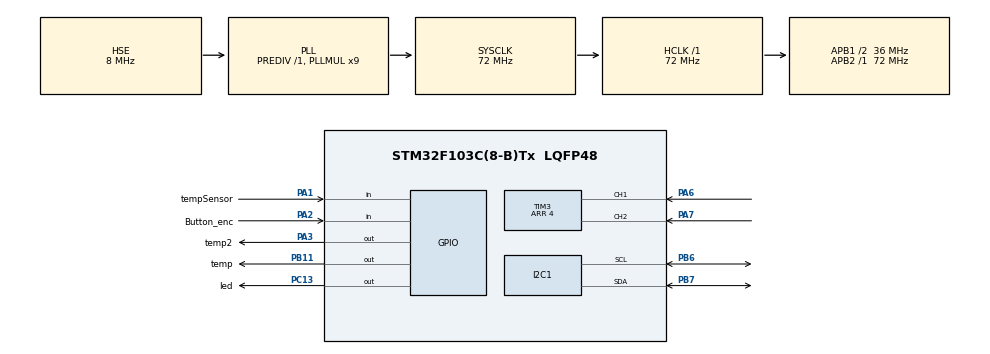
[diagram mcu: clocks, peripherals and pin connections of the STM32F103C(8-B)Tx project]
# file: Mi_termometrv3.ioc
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Mcu.Family=STM32F1
Mcu.Name=STM32F103C(8-B)Tx
Mcu.Package=LQFP48
NVIC.PriorityGroup=NVIC_PRIORITYGROUP_4
PA1.GPIO_Label=tempSensor
PA1.Signal=GPIO_Input
PA13.Mode=Serial_Wire
PA13.Signal=SYS_JTMS-SWDIO
PA14.Mode=Serial_Wire
PA14.Signal=SYS_JTCK-SWCLK
PA2.GPIO_Label=Button_enc
PA2.GPIO_PuPd=GPIO_PULLUP
PA2.Signal=GPIO_Input
PA3.GPIO_Label=temp2
PA3.Signal=GPIO_Output
PA6.GPIO_PuPd=GPIO_PULLUP
PA6.Signal=S_TIM3_CH1
PA7.GPIO_PuPd=GPIO_PULLUP
PA7.Signal=S_TIM3_CH2
PB11.GPIO_Label=temp
PB11.Signal=GPIO_Output
PB6.Mode=I2C
PB6.Signal=I2C1_SCL
PB7.Mode=I2C
PB7.Signal=I2C1_SDA
PC13-TAMPER-RTC.GPIO_Label=led
PC13-TAMPER-RTC.GPIO_Speed=GPIO_SPEED_FREQ_MEDIUM
PC13-TAMPER-RTC.PinState=GPIO_PIN_SET
PC13-TAMPER-RTC.Signal=GPIO_Output
PD0-OSC_IN.Mode=HSE-External-Oscillator
PD0-OSC_IN.Signal=RCC_OSC_IN
PD1-OSC_OUT.Mode=HSE-External-Oscillator
PD1-OSC_OUT.Signal=RCC_OSC_OUT
ProjectManager.HeapSize=0x200
ProjectManager.StackSize=0x400
ProjectManager.TargetToolchain=SW4STM32
RCC.AHBFreq_Value=72000000
RCC.APB1CLKDivider=RCC_HCLK_DIV2
RCC.APB1Freq_Value=36000000
RCC.APB1TimFreq_Value=72000000
RCC.APB2Freq_Value=72000000
RCC.APB2TimFreq_Value=72000000
RCC.HCLKFreq_Value=72000000
RCC.PLLMUL=RCC_PLL_MUL9
RCC.PLLSourceVirtual=RCC_PLLSOURCE_HSE
RCC.SYSCLKFreq_VALUE=72000000
RCC.SYSCLKSource=RCC_SYSCLKSOURCE_PLLCLK
RCC.USBFreq_Value=72000000
SH.S_TIM3_CH1.0=TIM3_CH1,Encoder_Interface
SH.S_TIM3_CH2.0=TIM3_CH2,Encoder_Interface
TIM3.EncoderMode=TIM_ENCODERMODE_TI12
TIM3.Period=4
VP_CRC_VS_CRC.Mode=CRC_Activate
board=custom

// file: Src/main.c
/* USER CODE BEGIN Header */

/**
  ******************************************************************************
  * @file           : main.c
  * @brief          : Main program body
  ******************************************************************************
  ** This notice applies to any and all portions of this file
  * that are not between comment pairs USER CODE BEGIN and
  * USER CODE END. Other portions of this file, whether
  * inserted by the user or by software development tools
  * are owned by their respective copyright owners.
  *
  * COPYRIGHT(c) 2019 STMicroelectronics
  *
  * Redistribution and use in source and binary forms, with or without modification,
  * are permitted provided that the following conditions are met:
  *   1. Redistributions of source code must retain the above copyright notice,
  *      this list of conditions and the following disclaimer.
  *   2. Redistributions in binary form must reproduce the above copyright notice,
  *      this list of conditions and the following disclaimer in the documentation
  *      and/or other materials provided with the distribution.
  *   3. Neither the name of STMicroelectronics nor the names of its contributors
  *      may be used to endorse or promote products derived from this software
  *      without specific prior written permission.
  *
  * THIS SOFTWARE IS PROVIDED BY THE COPYRIGHT HOLDERS AND CONTRIBUTORS "AS IS"
  * AND ANY EXPRESS OR IMPLIED WARRANTIES, INCLUDING, BUT NOT LIMITED TO, THE
  * IMPLIED WARRANTIES OF MERCHANTABILITY AND FITNESS FOR A PARTICULAR PURPOSE ARE
  * DISCLAIMED. IN NO EVENT SHALL THE COPYRIGHT HOLDER OR CONTRIBUTORS BE LIABLE
  * FOR ANY DIRECT, INDIRECT, INCIDENTAL, SPECIAL, EXEMPLARY, OR CONSEQUENTIAL
  * DAMAGES (INCLUDING, BUT NOT LIMITED TO, PROCUREMENT OF SUBSTITUTE GOODS OR
  * SERVICES; LOSS OF USE, DATA, OR PROFITS; OR BUSINESS INTERRUPTION) HOWEVER
  * CAUSED AND ON ANY THEORY OF LIABILITY, WHETHER IN CONTRACT, STRICT LIABILITY,
  * OR TORT (INCLUDING NEGLIGENCE OR OTHERWISE) ARISING IN ANY WAY OUT OF THE USE
  * OF THIS SOFTWARE, EVEN IF ADVISED OF THE POSSIBILITY OF SUCH DAMAGE.
  *
  ******************************************************************************
  */
/* USER CODE END Header */

#include "main.h"

/* USER CODE BEGIN Includes */

//Использовался Энкодер 80 тиков на оборот
#include "ssd1306.h"
#include "fonts.h"
#include "stdio.h"
#include "stdlib.h"
#include "math.h"
#include "string.h"
#include "dwt_stm32_delay.h"
#include "FlashPROM.h"
#include "ds18b20.h"
//#include <stdio>
//#include "iostream.h"
/* USER CODE END Includes */

/* USER CODE BEGIN PTD */
//using namespace std;
/* USER CODE END PTD */

CRC_HandleTypeDef hcrc;

I2C_HandleTypeDef hi2c1;

TIM_HandleTypeDef htim3;

/* USER CODE BEGIN PV */
//переменные для работы с датчиком температуры и влажности
uint8_t Rh_byte1, Rh_byte2, Temp_byte1, Temp_byte2;
uint16_t sum, RH, TEMP;
int temp_low, temp_high, rh_low, rh_high;
char temp_char1[2], temp_char2, rh_char1[2], rh_char2;
uint8_t check = 0;
uint32_t res_addr = 0;  //адрес для записи во флэш
uint32_t timme=0;  //счетчик времни для записи в память
uint16_t count=0;    //счетчик для сохранения в память
char str1[60];  //ds18b20

//фукции переназначения входа и выхода пин а1 для работы с датчиком
GPIO_InitTypeDef GPIO_InitStruct;
void set_gpio_output (void)
{
	/*Configure GPIO pin output: PA1 */
  GPIO_InitStruct.Pin = GPIO_PIN_1;
  GPIO_InitStruct.Mode = GPIO_MODE_OUTPUT_PP;
  GPIO_InitStruct.Speed = GPIO_SPEED_FREQ_LOW;
  HAL_GPIO_Init(GPIOA, &GPIO_InitStruct);
}

void set_gpio_input (void)
{
	/*Configure GPIO pin input: PA1 */
  GPIO_InitStruct.Pin = GPIO_PIN_1;
  GPIO_InitStruct.Mode = GPIO_MODE_INPUT;
  GPIO_InitStruct.Pull = GPIO_NOPULL;
  HAL_GPIO_Init(GPIOA, &GPIO_InitStruct);
}
/* USER CODE END PV */

void SystemClock_Config(void);
static void MX_GPIO_Init(void);
static void MX_I2C1_Init(void);
static void MX_TIM3_Init(void);
static void MX_CRC_Init(void);
/* USER CODE BEGIN PFP */
//////////////////////////////////////////////////////////////////////
//фунуции работы с датчиком ьемпературы
void DHT22_start (void)
{
	set_gpio_output ();  // set the pin as output
	HAL_GPIO_WritePin (GPIOA, GPIO_PIN_1, 0);   // pull the pin low
	DWT_Delay_us (500);   // wait for 500us
	HAL_GPIO_WritePin (GPIOA, GPIO_PIN_1, 1);   // pull the pin high
	DWT_Delay_us (30);   // wait for 30us
	set_gpio_input ();   // set as input
}

void check_response (void)
{
	DWT_Delay_us (40);
	if (!(HAL_GPIO_ReadPin (GPIOA, GPIO_PIN_1)))
	{
		DWT_Delay_us (80);
		if ((HAL_GPIO_ReadPin (GPIOA, GPIO_PIN_1))) check = 1;
	}
	while ((HAL_GPIO_ReadPin (GPIOA, GPIO_PIN_1)));   // wait for the pin to go low
}

uint8_t read_data (void)
{
	uint8_t i,j;
	for (j=0;j<8;j++)
	{
		while (!(HAL_GPIO_ReadPin (GPIOA, GPIO_PIN_1)));   // wait for the pin to go high
		DWT_Delay_us (40);   // wait for 40 us
		if ((HAL_GPIO_ReadPin (GPIOA, GPIO_PIN_1)) == 0)   // if the pin is low
		{
			i&= ~(1<<(7-j));   // write 0
		}
		else i|= (1<<(7-j));  // if the pin is high, write 1
		while ((HAL_GPIO_ReadPin (GPIOA, GPIO_PIN_1)));  // wait for the pin to go low
	}
	return i;
}
////////////////////////////////////////////
 struct Menucomplect
{
	char* Line1;      ///первые четыре строчки для обновления дисплея буфер
	char* Line2;
	char* Line3;
	char* Line4;
	char* Line5;       //вторые четыре строчки  курсорные указатели главного меню
	char* Line6;
	char* Line7;
	char* Line8;
	char* Line9;       //третьи безкурсорные указатели строчки главного меню
	char* Line10;
	char* Line11;
	char* Line12;
}Main_menu;

/* USER CODE END PFP */

/* USER CODE BEGIN 0 */
///функция для первого заполнеия меню
void start_menu(struct Menucomplect *mst)
{
	mst->Line1=">  TIME    ";
	mst->Line2="   Vlagnost";
	mst->Line3="   Temperat";
	mst->Line4="   Nagruzka";
	////

}
void Menu_it_Update()
{
//	ssd1306_Fill(Black);
	ssd1306_SetCursor(0,0);

	ssd1306_WriteString("   TIME     ",Font_11x18,White);
	ssd1306_UpdateScreen();
	ssd1306_SetCursor(0,15);
	ssd1306_WriteString("   Vlagnost",Font_11x18,White);
	ssd1306_UpdateScreen();
	ssd1306_SetCursor(0,30);
	ssd1306_WriteString("   Temperat",Font_11x18,White);
	ssd1306_UpdateScreen();
	ssd1306_SetCursor(0,45);
	ssd1306_WriteString("   Nagruzka",Font_11x18,White);
	ssd1306_UpdateScreen();
}
void Menu_it_Updatestruc(struct Menucomplect *menu )
{
//	ssd1306_Fill(Black);
	ssd1306_SetCursor(0,0);

	ssd1306_WriteString(menu->Line1,Font_11x18,White);
	ssd1306_UpdateScreen();
	ssd1306_SetCursor(0,15);
	ssd1306_WriteString(menu->Line2,Font_11x18,White);
	ssd1306_UpdateScreen();
	ssd1306_SetCursor(0,30);
	ssd1306_WriteString(menu->Line3,Font_11x18,White);
	ssd1306_UpdateScreen();
	ssd1306_SetCursor(0,45);
	ssd1306_WriteString(menu->Line4,Font_11x18,White);
	ssd1306_UpdateScreen();

}
void LCD_update(char* chislo)
{
	   ssd1306_Fill(Black);
	    //ssd1306_UpdateScreen();
	    //HAL_Delay(50);
	    ssd1306_SetCursor(0,0);
	    ssd1306_WriteString(chislo,Font_11x18,White);
	    ssd1306_UpdateScreen();
}

//функция сборки меню по результатам перемещений курсора
int set_Menu(uint8_t up,uint8_t pozicia ,struct Menucomplect *lastmenu )
{
	 uint8_t new_poz;
	 char *tuda;
	 if(up==1){
		switch (pozicia)
		{
		case 1:
		        {
		        lastmenu->Line1=lastmenu->Line9;  //пишем безкурсорную
			    lastmenu->Line4=lastmenu->Line8;   // сюда ставим курсор
			    new_poz=4;
			    break;
		        }
		case 2:
				{
				lastmenu->Line2=lastmenu->Line10;  //пишем безкурсорную
				lastmenu->Line1=lastmenu->Line5;   // сюда ставим курсор
				new_poz=1;
				break;
				}
		case 3:
				{
			    lastmenu->Line3=lastmenu->Line11;  //пишем безкурсорную
				lastmenu->Line2=lastmenu->Line6;   // сюда ставим курсор
				new_poz=2;
				break;
				}
		case 4:
				{
				lastmenu->Line4=lastmenu->Line12;  //пишем безкурсорную
			    lastmenu->Line3=lastmenu->Line7;   // сюда ставим курсор
			    new_poz=3;
			    break;
				}
		default:
			break;
		}

	 }else{//иначе идем вниз
	switch(pozicia){
       case 1:
		        {
		        lastmenu->Line1=lastmenu->Line9;  //пишем безкурсорную
			    lastmenu->Line2=lastmenu->Line6;   // сюда ставим курсор
			    new_poz=2;
			    break;
		        }
		case 2:
				{
				lastmenu->Line2=lastmenu->Line10;  //пишем безкурсорную
				lastmenu->Line3=lastmenu->Line7;   // сюда ставим курсор
				new_poz=3;
				break;
				}
		case 3:
				{
			    lastmenu->Line3=lastmenu->Line11;  //пишем безкурсорную
				lastmenu->Line4=lastmenu->Line8;   // сюда ставим курсор
				new_poz=4;
				break;
				}
		case 4:
				{
				lastmenu->Line4=lastmenu->Line12;  //пишем безкурсорную
			    lastmenu->Line1=lastmenu->Line5;   // сюда ставим курсор
			    new_poz=1;
			    break;
				}
		default:
			break;
		}

	 }

	 Menu_it_Updatestruc(lastmenu);
	 return new_poz;
}
//конец функции сборки меню по рез крусора
//////////////////////////////////////////////////////////////////////////////////

//функ
//функция заполнения струтуры
/*
void beginstructMenu(struct Menucomplect *beginmenu, char *mm,int n)
{

	    beginmenu->Line5=mm[0];
	    beginmenu->Line6=mm[1];
	    beginmenu->Line7=mm[2];
	    beginmenu->Line8=mm[3];
}                                              */
/* USER CODE END 0 */

int main(void)
{
  /* USER CODE BEGIN 1 */
	//char *Name[100] = {"Ruslan","Artur","Timur","Ivan","Sveta","Kola"};

	char *strMainmenu[4]={"   TIME     ","   Vlagnost","   Temperat","   Nagruzka"};
    char *strcursMainmenu[4]={">  TIME     ",">  Vlagnost",">  Temperat",">  Nagruzka"};
    char buf[25];
	int32_t capture=0, capture_prev=0, encoder=0,encoder_old=0;
	char encoder_ch[10],TEMPch[10],RHch[10];
	char *p,*p2,*p3,*tekmenu,*m1,*m2c;
    uint8_t cursor_up=2,pozicia_cursora=1;  // направление движения курсора 1-вверх 0-вниз 2-никуда
	   //позиция крусора те в какой строке сейчас находится
    uint16_t k_butt=0;
   uint8_t MSByte=0; //старший байт
   uint8_t LSByte=0;  //младший байт
   uint16_t MSBLSB=0; // склееныный
   uint8_t falgset=0;  //флаг что надо сохранить в память
   char str[64] = {0,};
   uint8_t status;             //ds18b20
   uint8_t dt[8];          //ds18b20
   uint16_t raw_temper;    //ds18b20
   float temper;          //ds18b20
   char c;
   uint8_t temrez;

  /* USER CODE END 1 */

  /* MCU Configuration--------------------------------------------------------*/

  /* Reset of all peripherals, Initializes the Flash interface and the Systick. */
  HAL_Init();

  /* Configure the system clock */
  SystemClock_Config();

  /* Initialize all configured peripherals */
  MX_GPIO_Init();
  MX_I2C1_Init();
  MX_TIM3_Init();
  MX_CRC_Init();
  /* USER CODE BEGIN 2 */
  ssd1306_Init();     //инициализация дисплея
  DWT_Delay_Init ();
  HAL_Delay(1000);
   /*
    ssd1306_Fill(White);
    ssd1306_UpdateScreen();
    HAL_Delay(1000);
    ssd1306_SetCursor(23,23);
    ssd1306_WriteString("Ziiiic",Font_11x18,Black);
    ssd1306_UpdateScreen();
    HAL_Delay(1000);
    ssd1306_Fill(Black);
    ssd1306_UpdateScreen();
    HAL_Delay(1000);
    ssd1306_SetCursor(0,0);
    ssd1306_WriteString("12345678901",Font_11x18,White);
    ssd1306_UpdateScreen();
    ssd1306_SetCursor(0,15);
    ssd1306_WriteString("22222222222",Font_11x18,White);
    ssd1306_UpdateScreen();
    ssd1306_SetCursor(0,30);
    ssd1306_WriteString("33333333333",Font_11x18,White);
    ssd1306_UpdateScreen();
    ssd1306_SetCursor(0,45);
    ssd1306_WriteString("44444444444",Font_11x18,White);
    ssd1306_UpdateScreen();   */

    ///Encoder///
    HAL_TIM_Encoder_Start(&htim3, TIM_CHANNEL_ALL);
////// Первичное создание главного меню

//инитим структуру меню
    Main_menu.Line5=strcursMainmenu[0];
    Main_menu.Line6=strcursMainmenu[1];
    Main_menu.Line7=strcursMainmenu[2];
    Main_menu.Line8=strcursMainmenu[3];

    Main_menu.Line9=strMainmenu[0];
    Main_menu.Line10=strMainmenu[1];
    Main_menu.Line11=strMainmenu[2];
    Main_menu.Line12=strMainmenu[3];
    //создаем указатель на структуру меню

    tekmenu=&Main_menu;
    start_menu(tekmenu);         //первично заполняем строки
    Menu_it_Updatestruc(tekmenu);  //выводим на дисплей
   HAL_Delay(500);
     m1=&strMainmenu;
    m2c=&strcursMainmenu;

   //erase_flash();
    res_addr = flash_search_adress(STARTADDR, BUFFSIZE * DATAWIDTH);   //
    myBuf_t wdata[BUFFSIZE] = {0x1111, 0x2222, 0x3333, 0x4444, 0x0000};
   // myBuf_t wdata[BUFFSIZE] ;
   // beginstructMenu(tekmenu,strcursMainmenu,4);
    				//смотрим данные при запсуке
    				ssd1306_Fill(Black);
    	 	    	ssd1306_SetCursor(0,0);
    	 	    	snprintf(str, 64, ": MSB_%d \n",MSByte );
    	 	    	ssd1306_WriteString(str,Font_11x18,White);
    	 	    	snprintf(str, 64, ": LSB_%d \n",LSByte );
    	 	    	ssd1306_SetCursor(0,15);
    	 	    	ssd1306_WriteString(str,Font_11x18,White);
    	 	    	snprintf(str, 64, ": MSBLSB%d \n", MSBLSB);
    	 	    	ssd1306_SetCursor(0,30);
    	 	    	ssd1306_WriteString(str,Font_11x18,White);
    	 	    	snprintf(str, 64, ": x% \n",'move' );
    	 	    	ssd1306_SetCursor(0,45);
    	 	    	ssd1306_WriteString(str,Font_11x18,White);
    	 	    	ssd1306_UpdateScreen();
    	 	    	HAL_Delay(500);
    //восстанавливаем занчения из памяти
    	 	    	myBuf_t rdata[BUFFSIZE] = {0,}; // буфер для чтения (не обязательно его создавать, можно использовать буфер для записи)
                    read_last_data_in_flash(rdata); // чтение данных из флеша
                    MSByte=(uint8_t)(rdata[0] >> 8);  //старший байт
                    LSByte=(uint8_t)rdata[0];           //младший байт
                    //смотрим данные при чтении из памяти
                        				ssd1306_Fill(Black);
                        	 	    	ssd1306_SetCursor(0,0);
                        	 	    	snprintf(str, 64, ": MSB_%d \n",MSByte );
                        	 	    	ssd1306_WriteString(str,Font_11x18,White);
                        	 	    	snprintf(str, 64, ": LSB_%d \n",LSByte );
                        	 	    	ssd1306_SetCursor(0,15);
                        	 	    	ssd1306_WriteString(str,Font_11x18,White);
                        	 	    	snprintf(str, 64, ": MSBLSB%d \n", MSBLSB);
                        	 	    	ssd1306_SetCursor(0,30);
                        	 	    	ssd1306_WriteString(str,Font_11x18,White);
                        	 	    	snprintf(str, 64, ": x% \n",'move' );
                        	 	    	ssd1306_SetCursor(0,45);
                        	 	    	ssd1306_WriteString(str,Font_11x18,White);
                        	 	    	ssd1306_UpdateScreen();
                        	 	    	HAL_Delay(500);
 /*  ssd1306_Fill(Black);
       ssd1306_UpdateScreen();
   ssd1306_SetCursor(0,0);
   	ssd1306_WriteString(strMainmenu[3],Font_11x18,White);
   	ssd1306_UpdateScreen();           */
port_init2();  //ds18b20 lib
status=ds18b20_init2(SKIP_ROM);
snprintf(str1,60,"_%d",status);
ssd1306_Fill(Black);
ssd1306_SetCursor(0,0);
ssd1306_WriteString(str1,Font_11x18,White);
ssd1306_SetCursor(0,15);
ssd1306_WriteString("Proshel",Font_11x18,White);
ssd1306_UpdateScreen();
HAL_Delay(2000);
/*
 * port_init();  //ds18b20 lib
status=ds18b20_init(SKIP_ROM);
snprintf(str1,60,"_%d",status);
ssd1306_Fill(Black);
ssd1306_SetCursor(0,0);
ssd1306_WriteString(str1,Font_11x18,White);
ssd1306_SetCursor(0,15);
ssd1306_WriteString("Proshel",Font_11x18,White);
ssd1306_UpdateScreen();
HAL_Delay(2000);
 *было для PB11
 *
 **/

  /* USER CODE END 2 */

  /* Infinite loop */
  /* USER CODE BEGIN WHILE */
  while (1)
  {
	  //работа с датчиком  для PA3
	  	  ds18b20_MeasureTemperCmd2(SKIP_ROM, 0);
	  	  HAL_Delay(800);
	  	  ds18b20_ReadStratcpad2(SKIP_ROM, dt, 0);
	  	  snprintf(str1,60,"%02X %02X %02X %02X ",
	  			  dt[0], dt[1], dt[2], dt[3]);
	  	  ssd1306_Fill(Black);
	  	  ssd1306_SetCursor(0,0);
	  	  ssd1306_WriteString(str1,Font_11x18,White);
	  	  snprintf(str1,60,"%02X %02X %02X %02X; ",
	  	  	   dt[4], dt[5], dt[6], dt[7]);
	  	  ssd1306_SetCursor(0,15);
	  	  ssd1306_WriteString(str1,Font_11x18,White);
	  	  raw_temper = ((uint16_t)dt[1]<<8)|dt[0];
	  	  if(ds18b20_GetSign(raw_temper)) c='-';
	  	  else c='+';
	  	  temper = ds18b20_Convert(raw_temper);
	  	  snprintf(str1,60,"%c",c);
	   	  ssd1306_SetCursor(0,30);
	  	  ssd1306_WriteString(str1,Font_11x18,White);
	  	  temrez=(uint8_t)(floor(temper*10));
	  	  snprintf(str1,60,"%c%d.%d'C",c, ((uint8_t)(floor(temper))),temrez%10);
	  	  ssd1306_SetCursor(0,45);
	  	  ssd1306_WriteString(str1,Font_11x18,White);
	  	  ssd1306_UpdateScreen();
	  	  HAL_Delay(150);

	  //работа с датчиком  для PB11
	  /*    раскомментить
	  ds18b20_MeasureTemperCmd(SKIP_ROM, 0);
	  HAL_Delay(800);
	  ds18b20_ReadStratcpad(SKIP_ROM, dt, 0);
	  snprintf(str1,60,"%02X %02X %02X %02X ",
	  dt[0], dt[1], dt[2], dt[3]);
	  ssd1306_Fill(Black);
	  ssd1306_SetCursor(0,0);
	  ssd1306_WriteString(str1,Font_11x18,White);
	 // HAL_UART_Transmit(&huart1,(uint8_t*)str1,strlen(str1),0x1000);
	 // sprintf(str1,"rn");
	  snprintf(str1,60,"%02X %02X %02X %02X; ",
	  	   dt[4], dt[5], dt[6], dt[7]);
	  ssd1306_SetCursor(0,15);
	  ssd1306_WriteString(str1,Font_11x18,White);
	  //ssd1306_UpdateScreen();
	  //HAL_UART_Transmit(&huart1,(uint8_t*)str1,strlen(str1),0x1000);
	  raw_temper = ((uint16_t)dt[1]<<8)|dt[0];
	  if(ds18b20_GetSign(raw_temper)) c='-';
	  else c='+';
	  temper = ds18b20_Convert(raw_temper);
	  //snprintf(str1,"Raw t: 0x%04X; t: %c%.2frn", raw_temper, c, temper);
	  //snprintf(str1,60,"+%s","dfty");
	  snprintf(str1,60,"%c",c);
	//  HAL_UART_Transmit(&huart1,(uint8_t*)str1,strlen(str1),0x1000);
	  ssd1306_SetCursor(0,30);
	  ssd1306_WriteString(str1,Font_11x18,White);

	  temrez=(uint8_t)(floor(temper*10));

	  //snprintf(str1,60,"%d.%d", ((uint8_t)(floor(temper))),temrez%10);
	  snprintf(str1,60,"%c%d.%d'C",c, ((uint8_t)(floor(temper))),temrez%10);
	  ssd1306_SetCursor(0,45);
	  ssd1306_WriteString(str1,Font_11x18,White);
	  ssd1306_UpdateScreen();
	  HAL_Delay(150);

       //раскоментить
	  */

	  /*

/////////Нажатие кнопки
	  if(HAL_GPIO_ReadPin(GPIOA, Button_enc_Pin)==GPIO_PIN_RESET)

	                  {
		             while(HAL_GPIO_ReadPin(GPIOA, Button_enc_Pin)==GPIO_PIN_RESET)
		             {
		            	k_butt=k_butt+1;
		            	HAL_Delay(5);

	                  }
		              if(k_butt>20){
		            	  Menu_it_Updatestruc(tekmenu);
		            	 // Menu_it_Update();
		             //HAL_GPIO_TogglePin(GPIOC, led_Pin);

		             		             //HAL_Delay(10);
	                  }
	                  }
	 /////конец нажатия кнопки
//////////Читаем энкодер
	      capture = TIM3->CNT;

	      encoder += capture - capture_prev;

	      if (abs(capture-capture_prev)>3) {     ///32767
	        encoder += (capture<capture_prev ? 1 : -1);  //65535
  	        HAL_GPIO_TogglePin(GPIOC, led_Pin);//светодиод для наглядности при перещелкивании энкодера

           if(encoder>encoder_old){
        	   cursor_up=0;    //так как енкодер перещелкнул вверх
        	   encoder_old=encoder;

           }else if(encoder<encoder_old){
        	   cursor_up=1;
        	   encoder_old=encoder;
           }
       //проверяем границы счетчика
           if(encoder>9){
                   		   encoder=0;
                   		   encoder_old=0;
            }else if(encoder<0){
                   	     encoder=9;
                   	     encoder_old=9;
            }
       //конец границы счетчика
	  //      p = itoa(encoder,encoder_ch,10);
	   //     LCD_update(p);
	      }
	      capture_prev = capture;
/////////Конец чтения энкодера
          if(cursor_up!=2){
        	pozicia_cursora=set_Menu(cursor_up,pozicia_cursora,tekmenu);
             cursor_up=2;
          }
   */

	  /*
	     //читаем поворот энкодера
	  if(HAL_GPIO_ReadPin(GPIOA, Button_enc_Pin)==GPIO_PIN_RESET)     {
	  MSByte=255;
	  LSByte=32;
	  MSBLSB=MSByte<<8|LSByte;
	  falgset=1;  //надо записать в память
	  HAL_Delay(500);
	  }
	  	  	  capture = TIM3->CNT;
	 	      encoder += capture - capture_prev;
	 	     if (abs(capture-capture_prev)>3) {
	 	    	 if(MSByte<255){
	 	    		MSByte++;
	 	    	 }else if(LSByte<255){
	 	    		LSByte++;
	 	    	 }else{
	 	    		MSByte=0;
	 	    		LSByte=0;
	 	    	 }
	 	    	char str[64] = {0,};
	 	       //если было изменение то клеим байт
	 	    	 MSBLSB=MSByte<<8|LSByte;
	 	    	 falgset=1;  //надо записать в память
	 	    	//выводим на дисплей

	 	    	ssd1306_Fill(Black);
	 	    	ssd1306_SetCursor(0,0);
	 	    	snprintf(str, 64, ": MSB_%d \n",MSByte );
	 	    	ssd1306_WriteString(str,Font_11x18,White);
	 	    	snprintf(str, 64, ": LSB_%d \n",LSByte );
	 	    	ssd1306_SetCursor(0,15);
	 	    	ssd1306_WriteString(str,Font_11x18,White);
	 	    	snprintf(str, 64, ": %x \n", 'MSBLSB');
	 	    	ssd1306_SetCursor(0,30);
	 	    	ssd1306_WriteString(str,Font_11x18,White);
	 	    	snprintf(str, 64, ": d% \n",MSBLSB );
	 	    	ssd1306_SetCursor(0,45);
	 	    	ssd1306_WriteString(str,Font_11x18,White);
	 	    	ssd1306_UpdateScreen();

	 	     }

          //тест записи в память

          //if((HAL_GetTick() - timme) > 10000) // интервал  10сек
        	  if(falgset!=0) // интервал  10сек
                  {
        		  	  	  wdata[0]=MSBLSB;
                         // wdata[0] = wdata[0] + 1; // просто для разнообразия
                          wdata[1] = wdata[1] + 1;
                          wdata[2] = wdata[2] + 1;
                          wdata[3] = wdata[3] + 1;

                          write_to_flash(wdata); // запись данных во флеш

                          timme = HAL_GetTick();
                          count++;
                          HAL_GPIO_TogglePin(GPIOC, led_Pin);
                          falgset=0;
                  }
                  */
    //чтение из памяти
        	  /*
                  if(count > 2)
                  {
                          count = 0;

                          myBuf_t rdata[BUFFSIZE] = {0,}; // буфер для чтения (не обязательно его создавать, можно использовать буфер для записи)

                          read_last_data_in_flash(rdata); // чтение данных из флеша

                          char str[64] = {0,};
                          //snprintf(str, 64, "Read data: 0x%x 0x%x 0x%x 0x%x 0x%x\n", rdata[0], rdata[1], rdata[2], rdata[3], rdata[4]);
                          snprintf(str, 64, ": 0x%x \n", rdata[0]);
                        //  HAL_UART_Transmit(&huart1, (uint8_t*)str, strlen(str), 100);
                            ssd1306_Fill(Black);
                          	ssd1306_SetCursor(0,0);
                          	ssd1306_WriteString(str,Font_11x18,White);
                          	//ssd1306_UpdateScreen();
                          	snprintf(str, 64, ": 0x%x \n", rdata[1]);
                          	ssd1306_SetCursor(0,15);
                          	ssd1306_WriteString(str,Font_11x18,White);
                          //	ssd1306_UpdateScreen();
                          	snprintf(str, 64, ": 0x%x \n", rdata[2]);
                          	ssd1306_SetCursor(0,30);
                          	ssd1306_WriteString(str,Font_11x18,White);

                          //  ssd1306_UpdateScreen();
                          	snprintf(str, 64, ": 0x%x \n", rdata[3]);
                          	ssd1306_SetCursor(0,45);
                          	ssd1306_WriteString(str,Font_11x18,White);
                          	ssd1306_UpdateScreen();

                  }
                  */
    /* USER CODE END WHILE */

    /* USER CODE BEGIN 3 */
          ///работа с датчиком температуры и влажности

       /*   DHT22_start ();
          		check_response ();
          		Rh_byte1 = read_data ();
          		Rh_byte2 = read_data ();
          		Temp_byte1 = read_data ();
          		Temp_byte2 = read_data ();
          		sum = read_data();
          		//if (sum == (Rh_byte1+Rh_byte2+Temp_byte1+Temp_byte2))
          		{
          			TEMP = ((Temp_byte1<<8)|Temp_byte2);
          			RH = ((Rh_byte1<<8)|Rh_byte2);
          		}

          		temp_low = TEMP/10;
          		temp_high = TEMP%10;

          		rh_low = RH/10;
          		rh_high = RH%10;
          		//выводим на дисплей
          		     p3 = itoa(TEMP,TEMPch,10);
          		     p2=itoa(RH,RHch,10);
          			   //     LCD_update(p);
          		    ssd1306_SetCursor(0,15);
          			ssd1306_WriteString(p2,Font_11x18,White);
          			ssd1306_UpdateScreen();
          			ssd1306_SetCursor(0,30);
          			ssd1306_WriteString(p3,Font_11x18,White);
          			ssd1306_UpdateScreen();
          			HAL_Delay(300);
          		///конец работы с датчиком температуры*/
 ////////////////////////////////////////////////
  }
  /* USER CODE END 3 */
}

void SystemClock_Config(void)
{
  RCC_OscInitTypeDef RCC_OscInitStruct = {0};
  RCC_ClkInitTypeDef RCC_ClkInitStruct = {0};

  /**Initializes the CPU, AHB and APB busses clocks
  */
  RCC_OscInitStruct.OscillatorType = RCC_OSCILLATORTYPE_HSE;
  RCC_OscInitStruct.HSEState = RCC_HSE_ON;
  RCC_OscInitStruct.HSEPredivValue = RCC_HSE_PREDIV_DIV1;
  RCC_OscInitStruct.HSIState = RCC_HSI_ON;
  RCC_OscInitStruct.PLL.PLLState = RCC_PLL_ON;
  RCC_OscInitStruct.PLL.PLLSource = RCC_PLLSOURCE_HSE;
  RCC_OscInitStruct.PLL.PLLMUL = RCC_PLL_MUL9;
  if (HAL_RCC_OscConfig(&RCC_OscInitStruct) != HAL_OK)
  {
    Error_Handler();
  }
  /**Initializes the CPU, AHB and APB busses clocks
  */
  RCC_ClkInitStruct.ClockType = RCC_CLOCKTYPE_HCLK|RCC_CLOCKTYPE_SYSCLK
                              |RCC_CLOCKTYPE_PCLK1|RCC_CLOCKTYPE_PCLK2;
  RCC_ClkInitStruct.SYSCLKSource = RCC_SYSCLKSOURCE_PLLCLK;
  RCC_ClkInitStruct.AHBCLKDivider = RCC_SYSCLK_DIV1;
  RCC_ClkInitStruct.APB1CLKDivider = RCC_HCLK_DIV2;
  RCC_ClkInitStruct.APB2CLKDivider = RCC_HCLK_DIV1;

  if (HAL_RCC_ClockConfig(&RCC_ClkInitStruct, FLASH_LATENCY_2) != HAL_OK)
  {
    Error_Handler();
  }
}

static void MX_CRC_Init(void)
{

  hcrc.Instance = CRC;
  if (HAL_CRC_Init(&hcrc) != HAL_OK)
  {
    Error_Handler();
  }

}

static void MX_I2C1_Init(void)
{

  hi2c1.Instance = I2C1;
  hi2c1.Init.ClockSpeed = 100000;
  hi2c1.Init.DutyCycle = I2C_DUTYCYCLE_2;
  hi2c1.Init.OwnAddress1 = 0;
  hi2c1.Init.AddressingMode = I2C_ADDRESSINGMODE_7BIT;
  hi2c1.Init.DualAddressMode = I2C_DUALADDRESS_DISABLE;
  hi2c1.Init.OwnAddress2 = 0;
  hi2c1.Init.GeneralCallMode = I2C_GENERALCALL_DISABLE;
  hi2c1.Init.NoStretchMode = I2C_NOSTRETCH_DISABLE;
  if (HAL_I2C_Init(&hi2c1) != HAL_OK)
  {
    Error_Handler();
  }

}

static void MX_TIM3_Init(void)
{

  TIM_Encoder_InitTypeDef sConfig = {0};
  TIM_MasterConfigTypeDef sMasterConfig = {0};

  htim3.Instance = TIM3;
  htim3.Init.Prescaler = 0;
  htim3.Init.CounterMode = TIM_COUNTERMODE_UP;
  htim3.Init.Period = 4;
  htim3.Init.ClockDivision = TIM_CLOCKDIVISION_DIV1;
  htim3.Init.AutoReloadPreload = TIM_AUTORELOAD_PRELOAD_DISABLE;
  sConfig.EncoderMode = TIM_ENCODERMODE_TI12;
  sConfig.IC1Polarity = TIM_ICPOLARITY_RISING;
  sConfig.IC1Selection = TIM_ICSELECTION_DIRECTTI;
  sConfig.IC1Prescaler = TIM_ICPSC_DIV1;
  sConfig.IC1Filter = 0;
  sConfig.IC2Polarity = TIM_ICPOLARITY_RISING;
  sConfig.IC2Selection = TIM_ICSELECTION_DIRECTTI;
  sConfig.IC2Prescaler = TIM_ICPSC_DIV1;
  sConfig.IC2Filter = 0;
  if (HAL_TIM_Encoder_Init(&htim3, &sConfig) != HAL_OK)
  {
    Error_Handler();
  }
  sMasterConfig.MasterOutputTrigger = TIM_TRGO_RESET;
  sMasterConfig.MasterSlaveMode = TIM_MASTERSLAVEMODE_DISABLE;
  if (HAL_TIMEx_MasterConfigSynchronization(&htim3, &sMasterConfig) != HAL_OK)
  {
    Error_Handler();
  }

}

static void MX_GPIO_Init(void)
{
  GPIO_InitTypeDef GPIO_InitStruct = {0};

  /* GPIO Ports Clock Enable */
  __HAL_RCC_GPIOC_CLK_ENABLE();
  __HAL_RCC_GPIOD_CLK_ENABLE();
  __HAL_RCC_GPIOA_CLK_ENABLE();
  __HAL_RCC_GPIOB_CLK_ENABLE();

  /*Configure GPIO pin Output Level */
  HAL_GPIO_WritePin(led_GPIO_Port, led_Pin, GPIO_PIN_SET);

  /*Configure GPIO pin Output Level */
  HAL_GPIO_WritePin(temp2_GPIO_Port, temp2_Pin, GPIO_PIN_RESET);

  /*Configure GPIO pin Output Level */
  HAL_GPIO_WritePin(temp_GPIO_Port, temp_Pin, GPIO_PIN_RESET);

  /*Configure GPIO pin : led_Pin */
  GPIO_InitStruct.Pin = led_Pin;
  GPIO_InitStruct.Mode = GPIO_MODE_OUTPUT_PP;
  GPIO_InitStruct.Pull = GPIO_NOPULL;
  GPIO_InitStruct.Speed = GPIO_SPEED_FREQ_MEDIUM;
  HAL_GPIO_Init(led_GPIO_Port, &GPIO_InitStruct);

  /*Configure GPIO pin : tempSensor_Pin */
  GPIO_InitStruct.Pin = tempSensor_Pin;
  GPIO_InitStruct.Mode = GPIO_MODE_INPUT;
  GPIO_InitStruct.Pull = GPIO_NOPULL;
  HAL_GPIO_Init(tempSensor_GPIO_Port, &GPIO_InitStruct);

  /*Configure GPIO pin : Button_enc_Pin */
  GPIO_InitStruct.Pin = Button_enc_Pin;
  GPIO_InitStruct.Mode = GPIO_MODE_INPUT;
  GPIO_InitStruct.Pull = GPIO_PULLUP;
  HAL_GPIO_Init(Button_enc_GPIO_Port, &GPIO_InitStruct);

  /*Configure GPIO pin : temp2_Pin */
  GPIO_InitStruct.Pin = temp2_Pin;
  GPIO_InitStruct.Mode = GPIO_MODE_OUTPUT_PP;
  GPIO_InitStruct.Pull = GPIO_NOPULL;
  GPIO_InitStruct.Speed = GPIO_SPEED_FREQ_LOW;
  HAL_GPIO_Init(temp2_GPIO_Port, &GPIO_InitStruct);

  /*Configure GPIO pin : temp_Pin */
  GPIO_InitStruct.Pin = temp_Pin;
  GPIO_InitStruct.Mode = GPIO_MODE_OUTPUT_PP;
  GPIO_InitStruct.Pull = GPIO_NOPULL;
  GPIO_InitStruct.Speed = GPIO_SPEED_FREQ_LOW;
  HAL_GPIO_Init(temp_GPIO_Port, &GPIO_InitStruct);

}

void Error_Handler(void)
{
}

/************************ (C) COPYRIGHT STMicroelectronics *****END OF FILE****/
